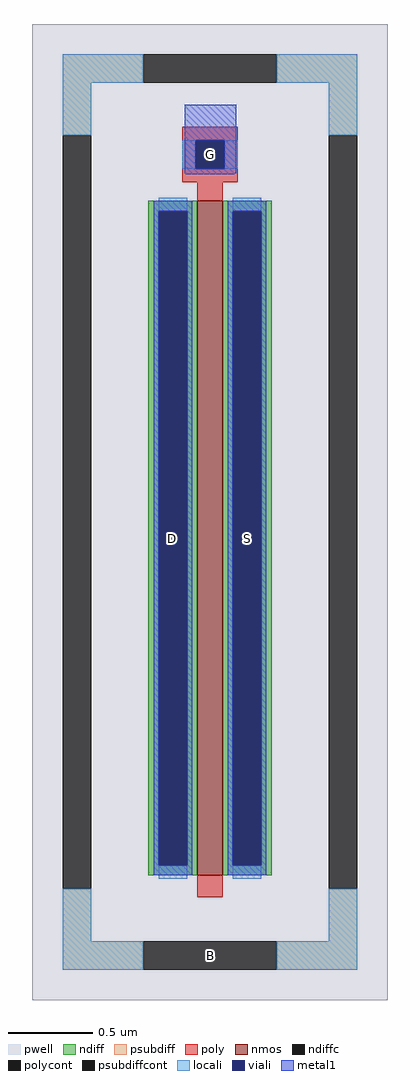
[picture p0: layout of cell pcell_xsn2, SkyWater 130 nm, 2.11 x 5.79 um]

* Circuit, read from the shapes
.subckt pcell_xsn2 B D S G
XM1 S G D B sky130_fd_pr__nfet_01v8 w=4 l=0.15
.ends

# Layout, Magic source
magic
tech sky130A
magscale 1 2
<< pwell >>
rect -211 -579 211 579
<< nmos >>
rect -15 -431 15 369
<< ndiff >>
rect -73 357 -15 369
rect -73 -419 -61 357
rect -27 -419 -15 357
rect -73 -431 -15 -419
rect 15 357 73 369
rect 15 -419 27 357
rect 61 -419 73 357
rect 15 -431 73 -419
<< ndiffc >>
rect -61 -419 -27 357
rect 27 -419 61 357
<< psubdiff >>
rect -175 509 -79 543
rect 79 509 175 543
rect -175 447 -141 509
rect 141 447 175 509
rect -175 -509 -141 -447
rect 141 -509 175 -447
rect -175 -543 -79 -509
rect 79 -543 175 -509
<< psubdiffcont >>
rect -79 509 79 543
rect -175 -447 -141 447
rect 141 -447 175 447
rect -79 -543 79 -509
<< poly >>
rect -33 441 33 457
rect -33 407 -17 441
rect 17 407 33 441
rect -33 391 33 407
rect -15 369 15 391
rect -15 -457 15 -431
<< polycont >>
rect -17 407 17 441
<< locali >>
rect -175 509 -79 543
rect 79 509 175 543
rect -175 447 -141 509
rect 141 447 175 509
rect -33 407 -17 441
rect 17 407 33 441
rect -61 357 -27 373
rect -61 -435 -27 -419
rect 27 357 61 373
rect 27 -435 61 -419
rect -175 -509 -141 -447
rect 141 -509 175 -447
rect -175 -543 -79 -509
rect 79 -543 175 -509
<< viali >>
rect -17 407 17 441
rect -61 -419 -27 357
rect 27 -419 61 357
<< metal1 >>
rect -30 441 31 483
rect -30 407 -17 441
rect 17 407 31 441
rect -30 402 31 407
rect -29 401 29 402
rect -67 357 -21 369
rect -67 -419 -61 357
rect -27 -419 -21 357
rect -67 -431 -21 -419
rect 21 357 67 369
rect 21 -419 27 357
rect 61 -419 67 357
rect 21 -431 67 -419
<< labels >>
rlabel psubdiffcont 0 -526 0 -526 0 B
port 1 nsew
rlabel ndiffc -44 -31 -44 -31 0 D
port 2 nsew
rlabel ndiffc 44 -31 44 -31 0 S
port 3 nsew
rlabel polycont 0 424 0 424 0 G
port 4 nsew
<< end >>
